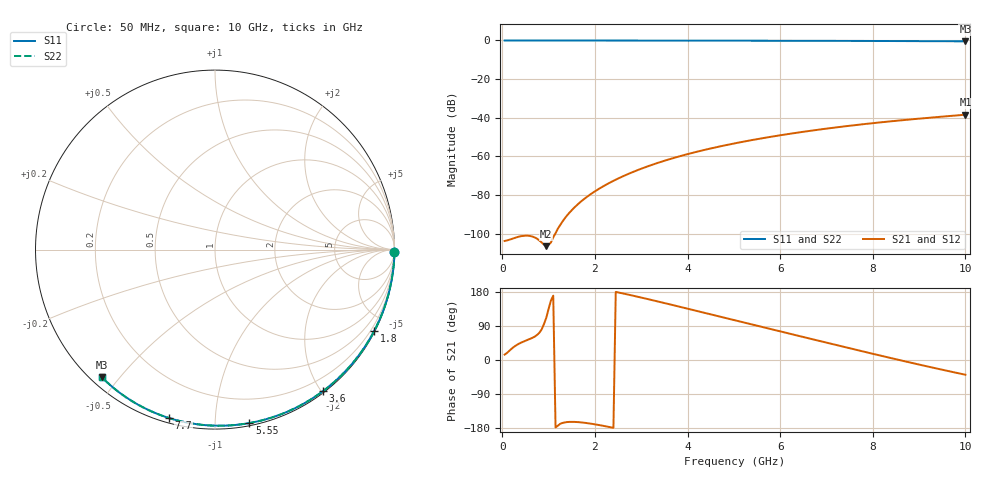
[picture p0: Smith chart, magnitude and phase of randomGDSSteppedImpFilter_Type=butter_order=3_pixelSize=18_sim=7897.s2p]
! freq	dB(S11)	phase(S11)	dB(S12)	phase(S12)
!  dB(S21)	phase(S21)	dB(S22)	phase(S22)
!S-par simulation data
#  GHz  S  DB  R 50
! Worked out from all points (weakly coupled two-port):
!   200 points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, 50 MHz to 10 GHz, reference 50 ohm
!   highest |S21| = -38.42 dB at 10 GHz (marker M1); lowest = -106.4 dB at 950 MHz (marker M2)
!   lowest |S11| = -0.4 dB at 10 GHz (marker M3), VSWR 39.32, Z = 1.53 - j22.4 ohm
!   |S11| at or under -10 dB: nowhere
!   |S22| runs from -0.4 to 0.0 dB; largest |S21 - S12| = 0
!   S11 on the Smith chart (normalised r, x): 50 MHz: open; 1.8 GHz: 0.04, -4.17; 3.6 GHz: 0.02, -2.02; 5.55 GHz: 0.02, -1.22; 7.7 GHz: 0.02, -0.76; 10 GHz: 0.03, -0.45
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0.05  -0.00 -0.8  -103.77 14.2  -103.77 14.2  -0.00 -0.8
0.5  -0.01 -7.6  -101.00 50.7  -101.00 50.7  -0.01 -7.6
0.95  -0.02 -14.4  -106.45 111.5  -106.45 111.5  -0.02 -14.4
1.75  -0.03 -26.2  -82.36 -165.3  -82.36 -165.3  -0.03 -26.2
1.8  -0.03 -27.0  -81.42 -166.1  -81.42 -166.1  -0.03 -27.0
1.85  -0.04 -27.7  -80.54 -166.9  -80.54 -166.9  -0.04 -27.7
1.9  -0.04 -28.4  -79.68 -167.8  -79.68 -167.8  -0.04 -28.4
2.05  -0.04 -30.6  -77.31 -170.8  -77.31 -170.8  -0.04 -30.6
2.25  -0.04 -33.6  -74.51 -175.3  -74.51 -175.3  -0.04 -33.6
2.65  -0.05 -39.3  -69.80 174.5  -69.80 174.5  -0.05 -39.3
3  -0.06 -44.3  -66.37 164.8  -66.37 164.8  -0.06 -44.3
3.4  -0.07 -50.0  -63.01 153.3  -63.01 153.3  -0.07 -50.0
3.6  -0.07 -52.7  -61.52 147.4  -61.52 147.4  -0.07 -52.7
4.3  -0.09 -62.3  -57.00 126.5  -57.00 126.5  -0.09 -62.3
5.05  -0.11 -72.3  -53.09 104.0  -53.09 104.0  -0.11 -72.3
5.55  -0.13 -78.8  -50.87 89.0  -50.87 89.0  -0.13 -78.8
6.1  -0.15 -85.8  -48.69 72.6  -48.69 72.6  -0.15 -85.8
6.7  -0.18 -93.2  -46.58 54.7  -46.58 54.7  -0.18 -93.2
7.7  -0.24 -105.2  -43.58 25.1  -43.58 25.1  -0.24 -105.2
8.35  -0.29 -112.8  -41.93 6.3  -41.93 6.3  -0.29 -112.8
9.15  -0.36 -122.0  -40.14 -16.2  -40.14 -16.2  -0.36 -122.0
10  -0.44 -131.6  -38.42 -38.9  -38.42 -38.9  -0.44 -131.6
